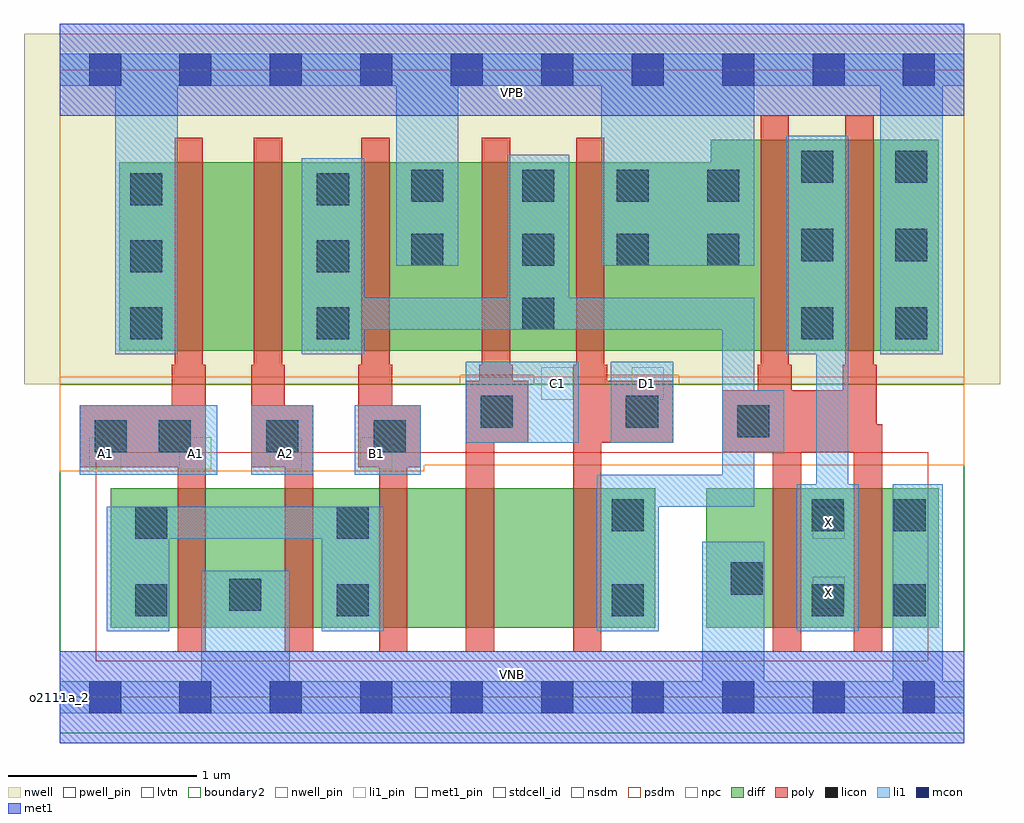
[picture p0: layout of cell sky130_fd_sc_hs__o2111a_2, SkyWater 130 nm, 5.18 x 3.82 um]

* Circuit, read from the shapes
.subckt sky130_fd_sc_hs__o2111a_2 A1 A2 B1 C1 D1 VGND VNB VPB VPWR X
XM1 VGND A1 n1 VNB sky130_fd_pr__nfet_01v8_lvt w=0.74 l=0.15
XM2 n1 A2 VGND VNB sky130_fd_pr__nfet_01v8_lvt w=0.74 l=0.15
XM3 n2 B1 n1 VNB sky130_fd_pr__nfet_01v8_lvt w=0.74 l=0.15
XM4 n3 C1 n2 VNB sky130_fd_pr__nfet_01v8_lvt w=0.74 l=0.15
XM5 n4 D1 n3 VNB sky130_fd_pr__nfet_01v8_lvt w=0.74 l=0.15
XM6 X n4 VGND VNB sky130_fd_pr__nfet_01v8_lvt w=0.74 l=0.15 m=2
XM7 n5 A1 VPWR VPB sky130_fd_pr__pfet_01v8 w=1 l=0.15
XM8 n4 A2 n5 VPB sky130_fd_pr__pfet_01v8 w=1 l=0.15
XM9 VPWR B1 n4 VPB sky130_fd_pr__pfet_01v8 w=1 l=0.15
XM10 n4 C1 VPWR VPB sky130_fd_pr__pfet_01v8 w=1 l=0.15
XM11 VPWR D1 n4 VPB sky130_fd_pr__pfet_01v8 w=1 l=0.15
XM12 X n4 VPWR VPB sky130_fd_pr__pfet_01v8 w=1.12 l=0.15 m=2
.ends

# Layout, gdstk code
import gdstk
lib = gdstk.Library(unit=1e-6, precision=1e-09)
def R(c, l, rs):  # rectangles x0, y0, x1, y1
    for r in rs: c.add(gdstk.rectangle(r[:2], r[2:], *l))
def A(c, l, x, y, w, h, nx, ny, dx, dy):  # array of equal rectangles
    R(c, l, [(x+i*dx, y+j*dy, x+i*dx+w, y+j*dy+h) for i in range(nx) for j in range(ny)])
def P(c, l, *ps):  # polygons
    for p in ps: c.add(gdstk.Polygon(p, *l))
nwell_pin = (64, 16)
nwell = (64, 20)
diff = (65, 20)
poly = (66, 20)
licon = (66, 44)
li1_pin = (67, 16)
li1 = (67, 20)
mcon = (67, 44)
met1_pin = (68, 16)
met1 = (68, 20)
stdcell_id = (81, 4)
nsdm = (93, 44)
psdm = (94, 20)
npc = (95, 20)
pwell_pin = (122, 16)
lvtn = (125, 44)
boundary2 = (236, 0)

sky130_fd_sc_hs__o2111a_ = lib.new_cell('sky130_fd_sc_hs__o2111a_2')
R(sky130_fd_sc_hs__o2111a_, nwell_pin, [(0,3.085,4.8,3.33)])
R(sky130_fd_sc_hs__o2111a_, nwell, [(-0.19,1.66,4.99,3.52)])
R(sky130_fd_sc_hs__o2111a_, diff, [(0.27,0.37,3.16,1.11), (3.43,0.37,4.665,1.11)])
P(sky130_fd_sc_hs__o2111a_, diff, [(4.665,2.96),(3.455,2.96),(3.455,2.84),(0.315,2.84),(0.315,1.84),(4.665,1.84)])
P(sky130_fd_sc_hs__o2111a_, poly, [(4.365,1.45),(4.335,1.45),(4.335,1.765),(4.32,1.765),(4.32,3.09),(4.17,3.09),(4.17,1.765),(4.155,1.765),(4.155,1.63),(3.885,1.63),(3.885,1.765),(3.87,1.765),(3.87,3.09),(3.72,3.09),(3.72,1.765),(3.705,1.765),(3.705,1.63),(3.515,1.63),(3.515,1.3),(3.785,1.3),(3.785,0.24),(3.935,0.24),(3.935,1.3),(4.215,1.3),(4.215,0.24),(4.365,0.24)],
  [(3.255,1.68),(2.905,1.68),(2.905,1.765),(2.89,1.765),(2.89,2.97),(2.74,2.97),(2.74,1.765),(2.725,1.765),(2.725,0.24),(2.875,0.24),(2.875,1.35),(3.255,1.35)],
  [(2.485,1.68),(2.405,1.68),(2.405,1.765),(2.39,1.765),(2.39,2.97),(2.24,2.97),(2.24,1.765),(2.225,1.765),(2.225,1.68),(2.155,1.68),(2.155,0.24),(2.305,0.24),(2.305,1.35),(2.485,1.35)],
  [(1.915,1.55),(1.765,1.55),(1.765,1.765),(1.75,1.765),(1.75,2.97),(1.6,2.97),(1.6,1.765),(1.585,1.765),(1.585,1.22),(1.695,1.22),(1.695,0.24),(1.845,0.24),(1.845,1.22),(1.915,1.22)],
  [(1.345,1.55),(1.195,1.55),(1.195,1.765),(1.18,1.765),(1.18,2.97),(1.03,2.97),(1.03,1.765),(1.015,1.765),(1.015,1.22),(1.195,1.22),(1.195,0.24),(1.345,0.24)],
  [(0.775,1.765),(0.76,1.765),(0.76,2.97),(0.61,2.97),(0.61,1.765),(0.595,1.765),(0.595,1.55),(0.105,1.55),(0.105,1.22),(0.625,1.22),(0.625,0.24),(0.775,0.24)])
A(sky130_fd_sc_hs__o2111a_, licon, 0.525, 1.3, 0.17, 0.17, 3, 1, 0.57, 0)
A(sky130_fd_sc_hs__o2111a_, licon, 0.375, 1.9, 0.17, 0.17, 1, 3, 0, 0.355)
A(sky130_fd_sc_hs__o2111a_, licon, 1.365, 1.9, 0.17, 0.17, 1, 3, 0, 0.355)
A(sky130_fd_sc_hs__o2111a_, licon, 3.935, 1.9, 0.17, 0.17, 1, 3, 0, 0.415)
A(sky130_fd_sc_hs__o2111a_, licon, 4.435, 1.9, 0.17, 0.17, 1, 3, 0, 0.415)
A(sky130_fd_sc_hs__o2111a_, licon, 2.455, 1.95, 0.17, 0.17, 1, 3, 0, 0.34)
R(sky130_fd_sc_hs__o2111a_, licon, [(0.4,0.43,0.57,0.6), (1.47,0.43,1.64,0.6), (2.93,0.43,3.1,0.6), (3.99,0.43,4.16,0.6), (4.425,0.43,4.595,0.6), (0.9,0.46,1.07,0.63), (3.56,0.545,3.73,0.715), (0.4,0.84,0.57,1.01), (1.47,0.84,1.64,1.01), (2.93,0.88,3.1,1.05), (3.99,0.88,4.16,1.05), (4.425,0.88,4.595,1.05), (0.185,1.3,0.355,1.47), (3.595,1.38,3.765,1.55), (2.235,1.43,2.405,1.6), (3.005,1.43,3.175,1.6), (1.865,2.29,2.035,2.46), (2.955,2.29,3.125,2.46), (3.435,2.29,3.605,2.46), (1.865,2.63,2.035,2.8), (2.955,2.63,3.125,2.8), (3.435,2.63,3.605,2.8)])
A(sky130_fd_sc_hs__o2111a_, li1_pin, 0.155, 1.21, 0.17, 0.17, 4, 1, 0.48, 0)
R(sky130_fd_sc_hs__o2111a_, li1_pin, [(3.995,0.47,4.165,0.64), (3.995,0.84,4.165,1.01), (2.555,1.58,2.725,1.75), (3.035,1.58,3.205,1.75)])
R(sky130_fd_sc_hs__o2111a_, li1, [(0.105,1.18,0.835,1.55), (1.015,1.18,1.345,1.55), (1.565,1.18,1.915,1.55), (2.155,1.35,2.755,1.78), (2.925,1.35,3.255,1.78)])
P(sky130_fd_sc_hs__o2111a_, li1, [(0,-0.085),(0,0.085),(0.75,0.085),(0.75,0.67),(1.22,0.67),(1.22,0.085),(3.41,0.085),(3.41,0.825),(3.74,0.825),(3.74,0.085),(4.42,0.085),(4.42,1.13),(4.685,1.13),(4.685,0.085),(4.8,0.085),(4.8,-0.085)],
  [(0,3.245),(0,3.415),(4.8,3.415),(4.8,3.245),(4.685,3.245),(4.685,1.82),(4.355,1.82),(4.355,3.245),(3.685,3.245),(3.685,2.29),(2.875,2.29),(2.875,3.245),(2.115,3.245),(2.115,2.29),(1.785,2.29),(1.785,3.245),(0.625,3.245),(0.625,1.82),(0.295,1.82),(0.295,3.245)],
  [(3.91,0.35),(3.91,1.13),(4.015,1.13),(4.015,1.82),(3.855,1.82),(3.855,2.98),(4.185,2.98),(4.185,1.13),(4.24,1.13),(4.24,0.35)],
  [(3.685,1.01),(3.18,1.01),(3.18,0.35),(2.85,0.35),(2.85,1.18),(3.515,1.18),(3.515,1.95),(1.615,1.95),(1.615,1.82),(1.285,1.82),(1.285,2.86),(1.615,2.86),(1.615,2.12),(2.375,2.12),(2.375,2.88),(2.705,2.88),(2.705,2.12),(3.685,2.12),(3.685,1.63),(3.845,1.63),(3.845,1.3),(3.685,1.3)],
  [(1.39,0.84),(0.58,0.84),(0.58,0.35),(0.25,0.35),(0.25,1.01),(1.72,1.01),(1.72,0.35),(1.39,0.35)])
A(sky130_fd_sc_hs__o2111a_, mcon, 0.155, -0.085, 0.17, 0.17, 10, 2, 0.48, 3.33)
R(sky130_fd_sc_hs__o2111a_, met1_pin, [(0,0,4.8,0.245), (0,3.085,4.8,3.33)])
R(sky130_fd_sc_hs__o2111a_, met1, [(0,-0.245,4.8,0.245), (0,3.085,4.8,3.575)])
R(sky130_fd_sc_hs__o2111a_, stdcell_id, [(0,0,4.8,3.33)])
R(sky130_fd_sc_hs__o2111a_, nsdm, [(0,-0.19,4.8,1.66)])
P(sky130_fd_sc_hs__o2111a_, psdm, [(4.8,3.52),(0,3.52),(0,1.66),(2.125,1.66),(2.125,1.71),(2.515,1.71),(2.515,1.66),(2.895,1.66),(2.895,1.71),(3.285,1.71),(3.285,1.66),(4.8,1.66)])
P(sky130_fd_sc_hs__o2111a_, npc, [(4.8,1.7),(0,1.7),(0,1.2),(1.935,1.2),(1.935,1.23),(4.8,1.23)])
R(sky130_fd_sc_hs__o2111a_, pwell_pin, [(0,0,4.8,0.245)])
R(sky130_fd_sc_hs__o2111a_, lvtn, [(0.19,0.19,4.61,1.3)])
R(sky130_fd_sc_hs__o2111a_, boundary2, [(0,0,4.8,3.33)])
sky130_fd_sc_hs__o2111a_.add(gdstk.Label('o2111a_2', (0,0), layer=83, texttype=44))
sky130_fd_sc_hs__o2111a_.add(gdstk.Label('VNB', (2.4,0.123), layer=64, texttype=59))
sky130_fd_sc_hs__o2111a_.add(gdstk.Label('VPB', (2.4,3.208), layer=64, texttype=5))
sky130_fd_sc_hs__o2111a_.add(gdstk.Label('VPWR', (2.4,3.208), layer=68, texttype=5))
sky130_fd_sc_hs__o2111a_.add(gdstk.Label('VGND', (2.4,0.123), layer=68, texttype=5))
sky130_fd_sc_hs__o2111a_.add(gdstk.Label('A1', (0.24,1.295), layer=67, texttype=5))
sky130_fd_sc_hs__o2111a_.add(gdstk.Label('A1', (0.72,1.295), layer=67, texttype=5))
sky130_fd_sc_hs__o2111a_.add(gdstk.Label('A2', (1.2,1.295), layer=67, texttype=5))
sky130_fd_sc_hs__o2111a_.add(gdstk.Label('B1', (1.68,1.295), layer=67, texttype=5))
sky130_fd_sc_hs__o2111a_.add(gdstk.Label('C1', (2.64,1.665), layer=67, texttype=5))
sky130_fd_sc_hs__o2111a_.add(gdstk.Label('D1', (3.12,1.665), layer=67, texttype=5))
sky130_fd_sc_hs__o2111a_.add(gdstk.Label('X', (4.08,0.555), layer=67, texttype=5))
sky130_fd_sc_hs__o2111a_.add(gdstk.Label('X', (4.08,0.925), layer=67, texttype=5))

lib.write_gds('sky130_fd_sc_hs__o2111a_2.gds')
